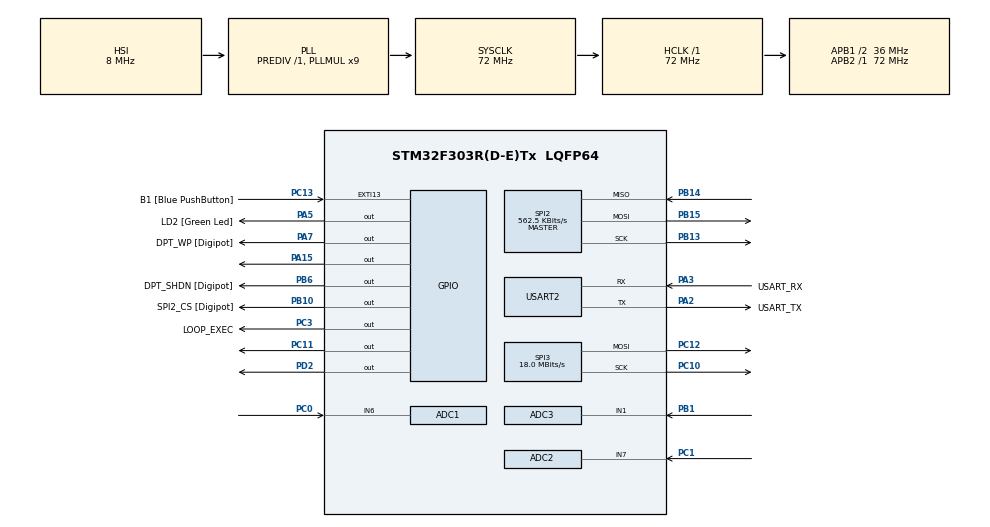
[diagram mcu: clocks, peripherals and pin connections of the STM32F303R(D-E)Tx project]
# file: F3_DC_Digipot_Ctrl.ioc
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Mcu.Family=STM32F3
PA2.GPIO_PuPd=GPIO_NOPULL
RCC.CortexFreq_Value=72000000
SPI3.Direction=SPI_DIRECTION_2LINES
SPI3.VirtualType=VM_MASTER
SPI2.VirtualType=VM_MASTER
SPI3.NSSPMode=SPI_NSS_PULSE_DISABLE
PC10.Signal=SPI3_SCK
PC12.Signal=SPI3_MOSI
PA14.GPIO_Label=TCK
ADC1.SamplingTimeOPAMP-1\#ChannelRegularConversion=ADC_SAMPLETIME_61CYCLES_5
RCC.SYSCLKSourceVirtual=RCC_SYSCLKSOURCE_PLLCLK
PA3.GPIO_PuPd=GPIO_NOPULL
PA2.GPIO_Speed=GPIO_SPEED_FREQ_LOW
PB6.GPIO_Label=DPT_SHDN [Digipot]
PC13.GPIO_Label=B1 [Blue PushButton]
PA3.GPIO_Speed=GPIO_SPEED_FREQ_LOW
PB13.Signal=SPI2_SCK
PB15.Signal=SPI2_MOSI
ADC2.SamplingTimeOPAMP-7\#ChannelRegularConversion=ADC_SAMPLETIME_61CYCLES_5
ProjectManager.StackSize=0x400
ADC2.Rank-7\#ChannelRegularConversion=1
ADC3.SamplingTime-4\#ChannelRegularConversion=ADC_SAMPLETIME_1CYCLE_5
ADC3.SamplingTimeOPAMP-4\#ChannelRegularConversion=ADC_SAMPLETIME_61CYCLES_5
RCC.HCLKFreq_Value=72000000
ADC1.Offset-1\#ChannelRegularConversion=0
RCC.APB2TimFreq_Value=72000000
TIM3.Period=9999
PB6.Signal=GPIO_Output
PC3.Signal=GPIO_Output
RCC.AHBFreq_Value=72000000
SPI2.BaudRatePrescaler=SPI_BAUDRATEPRESCALER_64
SPI3.DataSize=SPI_DATASIZE_8BIT
RCC.HSE_VALUE=8000000
USART2.VirtualMode-Asynchronous=VM_ASYNC
RCC.RCC_PLLsource_Clock_Source_FROM_HSE=RCC_HSE_PREDIV_DIV2
RCC.PLLMUL=RCC_PLL_MUL9
PC14-OSC32_IN.Mode=LSE-External-Oscillator
PA14.Mode=Serial_Wire
PB14.Mode=Full_Duplex_Master
TIM3.Prescaler=7199
PA5.GPIO_PuPd=GPIO_NOPULL
NVIC.TIM2_IRQn=true\:0\:0\:false\:false\:true\:true\:true
SPI2.CalculateBaudRate=562.5 KBits/s
TIM4.Period=1000
ADC3.Rank-4\#ChannelRegularConversion=1
ADC3.master=1
Mcu.Package=LQFP64
TIM2.Prescaler=71
PB1.Signal=ADC3_IN1
SPI2.Mode=SPI_MODE_MASTER
SPI3.Mode=SPI_MODE_MASTER
PA2.GPIO_Label=USART_TX
PA15.Signal=GPIO_Output
ADC1.OffsetNumber-1\#ChannelRegularConversion=ADC_OFFSET_NONE
RCC.APB1TimFreq_Value=72000000
ADC2.Channel-7\#ChannelRegularConversion=ADC_CHANNEL_7
ADC3.OffsetNumber-4\#ChannelRegularConversion=ADC_OFFSET_NONE
SPI2.Direction=SPI_DIRECTION_2LINES
PB13.Mode=Full_Duplex_Master
VP_TIM3_VS_ClockSourceINT.Mode=Internal
PF1-OSC_OUT.Signal=RCC_OSC_OUT
PA3.Signal=USART2_RX
PA2.GPIO_Mode=GPIO_MODE_AF_PP
PB3.GPIO_Label=SWO
PC15-OSC32_OUT.Mode=LSE-External-Oscillator
TIM4.AutoReloadPreload=TIM_AUTORELOAD_PRELOAD_ENABLE
TIM3.AutoReloadPreload=TIM_AUTORELOAD_PRELOAD_ENABLE
SH.ADCx_IN6.0=ADC1_IN6,IN6-Single-Ended
PC11.Signal=GPIO_Output
PC13.Signal=GPXTI13
SPI2.NSSPMode=SPI_NSS_PULSE_DISABLE
PC10.Mode=TX_Only_Simplex_Unidirect_Master
PC0.Signal=ADCx_IN6
RCC.APB1CLKDivider=RCC_HCLK_DIV2
PC14-OSC32_IN.Signal=RCC_OSC32_IN
ADC3.Offset-4\#ChannelRegularConversion=0
PA13.Signal=SYS_JTMS-SWDIO
PA3.Mode=Asynchronous
ProjectManager.TargetToolchain=STM32CubeIDE
ADC3.Channel-4\#ChannelRegularConversion=ADC_CHANNEL_1
PB10.GPIO_Label=SPI2_CS [Digipot]
SH.ADCx_IN7.0=ADC2_IN7,IN7-Single-Ended
PA3.GPIO_Mode=GPIO_MODE_AF_PP
SH.COMP_DAC11_group.0=DAC1_OUT1
ADC1.Channel-1\#ChannelRegularConversion=ADC_CHANNEL_6
RCC.USBFreq_Value=72000000
TIM4.Prescaler=71
PC15-OSC32_OUT.Signal=RCC_OSC32_OUT
PF0-OSC_IN.Mode=HSE-External-Clock-Source
PB10.Signal=GPIO_Output
PB14.Signal=SPI2_MISO
PA5.Signal=GPIO_Output
PC12.Mode=TX_Only_Simplex_Unidirect_Master
board=NUCLEO-F303RE
PB15.Mode=Full_Duplex_Master
NVIC.TIM3_IRQn=true\:0\:0\:false\:false\:true\:true\:true
RCC.APB2Freq_Value=72000000
SPI3.CalculateBaudRate=18.0 MBits/s
VP_TIM2_VS_ClockSourceINT.Mode=Internal
TIM2.Period=4294967295
PA13.Mode=Serial_Wire
Mcu.Name=STM32F303R(D-E)Tx
ADC2.OffsetNumber-7\#ChannelRegularConversion=ADC_OFFSET_NONE
PA2.Signal=USART2_TX
PA13.GPIO_Label=TMS
ADC2.SamplingTime-7\#ChannelRegularConversion=ADC_SAMPLETIME_1CYCLE_5
PB3.Signal=SYS_JTDO-TRACESWO
PA4.Signal=COMP_DAC11_group
ADC1.SamplingTime-1\#ChannelRegularConversion=ADC_SAMPLETIME_1CYCLE_5
RCC.SYSCLKFreq_VALUE=72000000
PA7.GPIO_Label=DPT_WP [Digipot]
ADC1.master=1
PA5.GPIO_Label=LD2 [Green Led]
ADC2.NbrOfConversionFlag=1
PC13.GPIO_ModeDefaultEXTI=GPIO_MODE_IT_FALLING
ADC1.Rank-1\#ChannelRegularConversion=1
PA14.Signal=SYS_JTCK-SWCLK
ProjectManager.HeapSize=0x200
PB1.Mode=IN1-Single-Ended
RCC.HSI_VALUE=8000000
VP_TIM4_VS_ClockSourceINT.Mode=Internal
RCC.PLLP=RCC_PLLP_DIV4
PA5.GPIO_Speed=GPIO_SPEED_FREQ_LOW
RCC.PLLQ=7
NVIC.PriorityGroup=NVIC_PRIORITYGROUP_0
ADC1.NbrOfConversionFlag=1
RCC.PLLM=8
RCC.PLLN=336
PA2.Mode=Asynchronous
TIM2.AutoReloadPreload=TIM_AUTORELOAD_PRELOAD_ENABLE
PC3.GPIO_Label=LOOP_EXEC
SPI2.DataSize=SPI_DATASIZE_8BIT
PF0-OSC_IN.Signal=RCC_OSC_IN
PD2.Signal=GPIO_Output
NVIC.TIM4_IRQn=true\:0\:0\:false\:false\:true\:true\:true
RCC.APB1Freq_Value=36000000
ADC3.NbrOfConversionFlag=1
PC1.Signal=ADCx_IN7
ADC2.Offset-7\#ChannelRegularConversion=0
PA3.GPIO_Label=USART_RX
PA7.Signal=GPIO_Output

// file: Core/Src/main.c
/* USER CODE BEGIN Header */
/**
 ******************************************************************************
 * @file           : main.c
 * @brief          : Main program body
 ******************************************************************************
 * @attention
 *
 * <h2><center>&copy; Copyright (c) 2021 STMicroelectronics.
 * All rights reserved.</center></h2>
 *
 * This software component is licensed by ST under BSD 3-Clause license,
 * the "License"; You may not use this file except in compliance with the
 * License. You may obtain a copy of the License at:
 *                        opensource.org/licenses/BSD-3-Clause
 *
 ******************************************************************************
 */
/* USER CODE END Header */
#include "main.h"

/* USER CODE BEGIN Includes */
#include "Lcd/stm32_adafruit_lcd.h"
#include "Digipot/MCP4261.h"
#include <stdio.h>
#include <math.h>
/* USER CODE END Includes */

/* USER CODE BEGIN PTD */
typedef struct {
	float Tcyc;
	float D;
	float Vnorm;
	float Tacc;
	float Tnorm;
	float v1;
	float t1;
	float t2;
	float t3;
	float a1;
	float a2;
	float a3;
	float angle;
	float velocity;
	uint8_t running;
	uint8_t stopping;
	uint8_t start_rq;
	uint32_t start_rq_cycles;
	uint32_t encoder[10] ;
} MOT_Control_Params;
/* USER CODE END PTD */

/* USER CODE BEGIN PD */
#define ADC_TIMEOUT       100
#define ADC_VREF          3.3     // V
#define MOT_ACCEL         6.28    // rad/s^2
#define MOT_MAX_CYC_TIME  10.0    // s
#define MOT_MAX_DPT       1.0     // 0..1 (0..100%)
#define MOT_ENCODER_360   2.92    // V
#define MOT_CTRL_Kp       2.0     // proportional coefficient
#define PI                3.1415926
/* USER CODE END PD */

ADC_HandleTypeDef hadc1;
ADC_HandleTypeDef hadc2;
ADC_HandleTypeDef hadc3;

SPI_HandleTypeDef hspi2;
SPI_HandleTypeDef hspi3;

TIM_HandleTypeDef htim2;
TIM_HandleTypeDef htim3;
TIM_HandleTypeDef htim4;

UART_HandleTypeDef huart2;

/* USER CODE BEGIN PV */
// ADCx conversion results
uint32_t ADC1_VALUE = 0;
uint32_t ADC2_VALUE = 0;
uint32_t ADC3_VALUE = 0;
// Control
MOT_Control_Params MOT;
// Time measurements
uint32_t LOOP_START_TIME = 0;
uint32_t LOOP_EXEC_TIME = 0;
uint32_t LOOP_CYCLE_TIME = 0;
uint32_t MAIN_START_TIME = 0;
uint32_t MAIN_EXEC_TIME = 0;
uint32_t MAIN_CYCLE_TIME = 0;

// Display diagnostic strings
char DPY_adc1[24];
char DPY_par0[24];
char DPY_par1[24];
char DPY_par2[24];
char DPY_par3[24];
char DPY_par4[24];
char DPY_par5[24];
char DPY_par6[24];
char DPY_par7[24];
char DPY_par8[24];
char DPY_par9[24];
/* USER CODE END PV */

void SystemClock_Config(void);
static void MX_GPIO_Init(void);
static void MX_USART2_UART_Init(void);
static void MX_SPI3_Init(void);
static void MX_SPI2_Init(void);
static void MX_ADC1_Init(void);
static void MX_TIM2_Init(void);
static void MX_TIM3_Init(void);
static void MX_ADC2_Init(void);
static void MX_TIM4_Init(void);
static void MX_ADC3_Init(void);

/* USER CODE BEGIN 0 */

// Main control loop
void CONTROL_Main_Loop() {
	// ! ATTENTION ! MAIN CONTROL CYCLE called by interrupt from TIM4
	HAL_StatusTypeDef halst;   // In case some diagnostic data needed

	// Profiling
	uint32_t timer_start = htim2.Instance->CNT;
	LOOP_CYCLE_TIME = htim2.Instance->CNT - LOOP_START_TIME;
	LOOP_START_TIME = timer_start;
	HAL_GPIO_WritePin(LOOP_EXEC_GPIO_Port, LOOP_EXEC_Pin, GPIO_PIN_SET);

	// *********************************************************************
	// *                           Read all inputs                         *
	// *********************************************************************
	// Read encoder feedback from ADC1
	halst = HAL_ADC_Start(&hadc1);
	halst = HAL_ADC_PollForConversion(&hadc1, ADC_TIMEOUT);
	ADC1_VALUE = HAL_ADC_GetValue(&hadc1);
	// Read speed setting value from ADC2 (connected to potentiometer)
	halst = HAL_ADC_Start(&hadc2);
	halst = HAL_ADC_PollForConversion(&hadc2, ADC_TIMEOUT);
	ADC2_VALUE = HAL_ADC_GetValue(&hadc2);
	// Read diagnostic value from ADC3 (connected to potentiometer in parallel to ADC2)
	halst = HAL_ADC_Start(&hadc3);
	halst = HAL_ADC_PollForConversion(&hadc3, ADC_TIMEOUT);
	ADC3_VALUE = HAL_ADC_GetValue(&hadc3);

	// *********************************************************************
	// *                         CONTROL LOGIC                             *
	// *********************************************************************

	// Current motor rotation angle
	float adc1_volt = (float) ADC1_VALUE * (ADC_VREF / 0xFFF);
	MOT.angle = PI * 2 * (adc1_volt / MOT_ENCODER_360);

	// Current speed
	uint16_t encoder_size = sizeof(MOT.encoder) / sizeof(typeof(MOT.encoder[0]));
	uint16_t iter_end = encoder_size - 1;
	float iter_sum = 0;
	for (uint16_t i = 1; i <= iter_end; i++) {
		MOT.encoder[i - 1] = MOT.encoder[i];
		iter_sum = iter_sum + MOT.encoder[i - 1];
	}
	MOT.encoder[iter_end] = MOT.angle;
	iter_sum = iter_sum + MOT.encoder[iter_end];
	MOT.velocity = iter_sum / encoder_size;

	// Read rotation cycle time value from potentiometer connected to ADC2
	MOT.Tcyc = MOT_MAX_CYC_TIME * ((float) ADC2_VALUE / 0xFFF);
	// Calculate speed profile parameters
	MOT.D = MOT.Tcyc * MOT.Tcyc - (PI * 8 / MOT_ACCEL);
	if (MOT.D >= 0) {
		MOT.Vnorm = MOT_ACCEL * (MOT.Tcyc - sqrt(MOT.D));
		MOT.Tacc = MOT.Vnorm / MOT_ACCEL;
		if (MOT.Tcyc >= (MOT.Tacc * 2)) {
			MOT.Tnorm = MOT.Tcyc - (MOT.Tacc * 2);
			MOT.v1 = MOT.Vnorm;
			MOT.t1 = MOT.Tacc;
			MOT.t2 = MOT.Tacc + MOT.Tnorm;
			MOT.t3 = MOT.Tcyc;
			MOT.a1 = PI * 2 * MOT.t1 / MOT.Tcyc;
			MOT.a2 = PI * 2 * MOT.t2 / MOT.Tcyc;
			MOT.a3 = PI * 2;
		}
	}

	// Blue button press detection
	if (HAL_GPIO_ReadPin(B1_GPIO_Port, B1_Pin) == GPIO_PIN_RESET) {
		if (MOT.running == 0) {
			MOT.start_rq_cycles++;
			if (MOT.start_rq_cycles > 250) {
				MOT.running = 1;
				MOT.stopping = 0;
			}
		} else {
			MOT.start_rq_cycles = 0;
		}
	} else {
		MOT.start_rq_cycles = 0;
	}

	// Regulator output calculation
	float regulator = 0;
	float Vref = 0;
	if (MOT.running > 0) {
		if ((MOT.angle >= 0) && (MOT.angle < MOT.a1) && (MOT.stopping == 0)) {
			Vref = MOT.v1 * MOT.angle / MOT.a1;
		}
		if ((MOT.angle >= MOT.a1) && (MOT.angle < MOT.a2)
				&& (MOT.stopping == 0)) {
			Vref = MOT.v1;
		}
		if ((MOT.angle >= MOT.a2) && (MOT.angle < MOT.a3)) {
			Vref = MOT.v1 * (MOT.a3 - MOT.angle) / (MOT.a3 - MOT.a2);
		} else if (MOT.stopping > 0) {
			MOT.running = 0;
			MOT.stopping = 0;
		}
		float Vdiff = Vref - MOT.velocity;
		regulator = Vdiff * MOT_CTRL_Kp;
	}

	// Regulator output clipping
	if (regulator > 1)
		regulator = 1;
	if (regulator < 0)
		regulator = 0;

	// Calculate output value of the regulator
	uint16_t regulator_output = regulator * MOT_MAX_DPT * 0xFF;

	// *********************************************************************
	// *                        Write all outputs                          *
	// *********************************************************************
	// Write output to the digital potentiometer
	// Black core is the floor level
	MCP4261_wiper_write(0, regulator_output);

	// Profiling
	uint32_t timer_stop = htim2.Instance->CNT;
	LOOP_EXEC_TIME = timer_stop - timer_start;
	HAL_GPIO_WritePin(LOOP_EXEC_GPIO_Port, LOOP_EXEC_Pin, GPIO_PIN_RESET);
}

// Display initialization
void DPY_Init() {
	BSP_LCD_Init();
	BSP_LCD_SetFont(&Font12);
	BSP_LCD_Clear(LCD_COLOR_BLUE);
	//BSP_LCD_SetTextColor(LCD_COLOR_WHITE);
	//BSP_LCD_SetBackColor(LCD_COLOR_BLUE);
	sprintf(DPY_adc1, "-");
	sprintf(DPY_par0, "-");
	sprintf(DPY_par1, "-");
	sprintf(DPY_par2, "-");
	sprintf(DPY_par3, "-");
	sprintf(DPY_par4, "-");
	sprintf(DPY_par5, "-");
	sprintf(DPY_par6, "-");
	sprintf(DPY_par7, "-");
	sprintf(DPY_par8, "-");
	sprintf(DPY_par9, "-");
}

// Display update
void DPY_ScreenUpdate() {
	// Screen update
	//BSP_LCD_SetTextColor(LCD_COLOR_BLUE);
	//BSP_LCD_FillRect(0, 0, BSP_LCD_GetXSize(), 90);
	BSP_LCD_SetTextColor(LCD_COLOR_WHITE);
	BSP_LCD_SetBackColor(LCD_COLOR_BLUE);
	BSP_LCD_SetFont(&Font12);
	BSP_LCD_DisplayStringAt(0, 0, (uint8_t*) DPY_adc1, LEFT_MODE);
	BSP_LCD_DisplayStringAt(0, 15, (uint8_t*) DPY_par0, LEFT_MODE);
	BSP_LCD_DisplayStringAt(0, 30, (uint8_t*) DPY_par1, LEFT_MODE);
	BSP_LCD_DisplayStringAt(0, 45, (uint8_t*) DPY_par2, LEFT_MODE);
	BSP_LCD_DisplayStringAt(0, 60, (uint8_t*) DPY_par3, LEFT_MODE);
	BSP_LCD_DisplayStringAt(0, 75, (uint8_t*) DPY_par4, LEFT_MODE);
	BSP_LCD_DisplayStringAt(0, 90, (uint8_t*) DPY_par5, LEFT_MODE);
	BSP_LCD_DisplayStringAt(0, 105, (uint8_t*) DPY_par6, LEFT_MODE);
	BSP_LCD_DisplayStringAt(0, 120, (uint8_t*) DPY_par7, LEFT_MODE);
	BSP_LCD_DisplayStringAt(0, 135, (uint8_t*) DPY_par8, LEFT_MODE);
	BSP_LCD_DisplayStringAt(0, 150, (uint8_t*) DPY_par9, LEFT_MODE);
}

/* USER CODE END 0 */

int main(void) {

	/* MCU Configuration--------------------------------------------------------*/

	/* Reset of all peripherals, Initializes the Flash interface and the Systick. */
	HAL_Init();

	/* Configure the system clock */
	SystemClock_Config();

	/* Initialize all configured peripherals */
	MX_GPIO_Init();
	MX_USART2_UART_Init();
	MX_SPI3_Init();
	MX_SPI2_Init();
	MX_ADC1_Init();
	MX_TIM2_Init();
	MX_TIM3_Init();
	MX_ADC2_Init();
	MX_TIM4_Init();
	MX_ADC3_Init();
	/* USER CODE BEGIN 2 */
	// Calibrate The ADC On Power-Up For Better Accuracy
	HAL_ADCEx_Calibration_Start(&hadc1, ADC_SINGLE_ENDED);
	HAL_ADCEx_Calibration_Start(&hadc2, ADC_SINGLE_ENDED);
	HAL_ADCEx_Calibration_Start(&hadc3, ADC_SINGLE_ENDED);
	// Display initialization
	MCP4261_Init(&hspi2);
	DPY_Init();
	// Current speed init array
	uint16_t iter_end = sizeof(MOT.encoder) / sizeof(typeof(MOT.encoder[0])) - 1;
	for (uint16_t i = 0; i <= iter_end; i++) {
		MOT.encoder[i] = 0;
	}
	// Start timer TIM2 for microseconds counting
	HAL_TIM_Base_Start_IT(&htim2);
	// Start timer TIM3 for LD2 blinking
	HAL_TIM_Base_Start_IT(&htim3);
	// Start timer MIN4 for main control loop execution
	HAL_TIM_Base_Start_IT(&htim4);
	/* USER CODE END 2 */

	/* Infinite loop */
	while (1) {

		/* USER CODE BEGIN 3 */
		// Profiling
		uint32_t timer_start = htim2.Instance->CNT;
		MAIN_CYCLE_TIME = htim2.Instance->CNT - MAIN_START_TIME;
		MAIN_START_TIME = timer_start;

		// ****************************
		// * Diagnostic information   *
		// ****************************
		//
		// ADC values
		// 12-bit conversion 000h...FFFh
		// 3.3V reference voltage
		float adc1_volt = (float) ADC1_VALUE * (ADC_VREF / 0xFFF);
		float adc2_volt = (float) ADC2_VALUE * (ADC_VREF / 0xFFF);
		float adc3_volt = (float) ADC3_VALUE * (ADC_VREF / 0xFFF);
		//
		// Digital potentiometer values
		uint16_t st = MCP4261_status_read();
		uint16_t tc = MCP4261_tcon_read();
		uint16_t wp = MCP4261_wiper_read(0);
		sprintf(DPY_adc1, "AD1 ENC %3X %.2fV   ", ADC1_VALUE, adc1_volt);
		sprintf(DPY_par0, "AD2 POT %3X %.2fV   ", ADC2_VALUE, adc2_volt);
		sprintf(DPY_par1, "AD3 DIA %3X %.2fV   ", ADC3_VALUE, adc3_volt);
		sprintf(DPY_par2, "DP: %4X %4X %3X     ", st, tc, wp);
		sprintf(DPY_par3, "   (1) (2) (3)");
		sprintf(DPY_par4, "T> %.1f %.1f %.1f      ", MOT.t1, MOT.t2, MOT.t3);
		sprintf(DPY_par5, "A> %.1f %.1f %.1f      ", MOT.a1, MOT.a2, MOT.a3);
		sprintf(DPY_par6, "D=%.1f Vn= %.1f  ", MOT.D, MOT.Vnorm);
		sprintf(DPY_par7, "RUN=%d A=%.1f V=%.1f   ", MOT.running, MOT.angle, MOT.velocity);
		sprintf(DPY_par8, "Ctrl: %4d/%4d us    ", LOOP_CYCLE_TIME,
				LOOP_EXEC_TIME);
		sprintf(DPY_par9, "Main: %4d/%4d ms    ", MAIN_CYCLE_TIME / 1000,
				MAIN_EXEC_TIME / 1000);
		DPY_ScreenUpdate();

		// Profiling
		MAIN_EXEC_TIME = htim2.Instance->CNT - MAIN_START_TIME;

		HAL_Delay(100);
	}
	/* USER CODE END 3 */
}

void SystemClock_Config(void) {
	RCC_OscInitTypeDef RCC_OscInitStruct = { 0 };
	RCC_ClkInitTypeDef RCC_ClkInitStruct = { 0 };
	RCC_PeriphCLKInitTypeDef PeriphClkInit = { 0 };

	/** Initializes the RCC Oscillators according to the specified parameters
	 * in the RCC_OscInitTypeDef structure.
	 */
	RCC_OscInitStruct.OscillatorType = RCC_OSCILLATORTYPE_HSI;
	RCC_OscInitStruct.HSIState = RCC_HSI_ON;
	RCC_OscInitStruct.HSICalibrationValue = RCC_HSICALIBRATION_DEFAULT;
	RCC_OscInitStruct.PLL.PLLState = RCC_PLL_ON;
	RCC_OscInitStruct.PLL.PLLSource = RCC_PLLSOURCE_HSI;
	RCC_OscInitStruct.PLL.PLLMUL = RCC_PLL_MUL9;
	RCC_OscInitStruct.PLL.PREDIV = RCC_PREDIV_DIV1;
	if (HAL_RCC_OscConfig(&RCC_OscInitStruct) != HAL_OK) {
		Error_Handler();
	}
	/** Initializes the CPU, AHB and APB buses clocks
	 */
	RCC_ClkInitStruct.ClockType = RCC_CLOCKTYPE_HCLK | RCC_CLOCKTYPE_SYSCLK
			| RCC_CLOCKTYPE_PCLK1 | RCC_CLOCKTYPE_PCLK2;
	RCC_ClkInitStruct.SYSCLKSource = RCC_SYSCLKSOURCE_PLLCLK;
	RCC_ClkInitStruct.AHBCLKDivider = RCC_SYSCLK_DIV1;
	RCC_ClkInitStruct.APB1CLKDivider = RCC_HCLK_DIV2;
	RCC_ClkInitStruct.APB2CLKDivider = RCC_HCLK_DIV1;

	if (HAL_RCC_ClockConfig(&RCC_ClkInitStruct, FLASH_LATENCY_2) != HAL_OK) {
		Error_Handler();
	}
	PeriphClkInit.PeriphClockSelection = RCC_PERIPHCLK_USART2
			| RCC_PERIPHCLK_ADC12 | RCC_PERIPHCLK_ADC34 | RCC_PERIPHCLK_TIM2
			| RCC_PERIPHCLK_TIM34;
	PeriphClkInit.Usart2ClockSelection = RCC_USART2CLKSOURCE_PCLK1;
	PeriphClkInit.Adc12ClockSelection = RCC_ADC12PLLCLK_DIV1;
	PeriphClkInit.Adc34ClockSelection = RCC_ADC34PLLCLK_DIV1;
	PeriphClkInit.Tim2ClockSelection = RCC_TIM2CLK_HCLK;
	PeriphClkInit.Tim34ClockSelection = RCC_TIM34CLK_HCLK;
	if (HAL_RCCEx_PeriphCLKConfig(&PeriphClkInit) != HAL_OK) {
		Error_Handler();
	}
}

static void MX_ADC1_Init(void) {

	ADC_MultiModeTypeDef multimode = { 0 };
	ADC_ChannelConfTypeDef sConfig = { 0 };

	/** Common config
	 */
	hadc1.Instance = ADC1;
	hadc1.Init.ClockPrescaler = ADC_CLOCK_ASYNC_DIV1;
	hadc1.Init.Resolution = ADC_RESOLUTION_12B;
	hadc1.Init.ScanConvMode = ADC_SCAN_DISABLE;
	hadc1.Init.ContinuousConvMode = DISABLE;
	hadc1.Init.DiscontinuousConvMode = DISABLE;
	hadc1.Init.ExternalTrigConvEdge = ADC_EXTERNALTRIGCONVEDGE_NONE;
	hadc1.Init.ExternalTrigConv = ADC_SOFTWARE_START;
	hadc1.Init.DataAlign = ADC_DATAALIGN_RIGHT;
	hadc1.Init.NbrOfConversion = 1;
	hadc1.Init.DMAContinuousRequests = DISABLE;
	hadc1.Init.EOCSelection = ADC_EOC_SINGLE_CONV;
	hadc1.Init.LowPowerAutoWait = DISABLE;
	hadc1.Init.Overrun = ADC_OVR_DATA_OVERWRITTEN;
	if (HAL_ADC_Init(&hadc1) != HAL_OK) {
		Error_Handler();
	}
	/** Configure the ADC multi-mode
	 */
	multimode.Mode = ADC_MODE_INDEPENDENT;
	if (HAL_ADCEx_MultiModeConfigChannel(&hadc1, &multimode) != HAL_OK) {
		Error_Handler();
	}
	/** Configure Regular Channel
	 */
	sConfig.Channel = ADC_CHANNEL_6;
	sConfig.Rank = ADC_REGULAR_RANK_1;
	sConfig.SingleDiff = ADC_SINGLE_ENDED;
	sConfig.SamplingTime = ADC_SAMPLETIME_1CYCLE_5;
	sConfig.OffsetNumber = ADC_OFFSET_NONE;
	sConfig.Offset = 0;
	if (HAL_ADC_ConfigChannel(&hadc1, &sConfig) != HAL_OK) {
		Error_Handler();
	}

}

static void MX_ADC2_Init(void) {

	ADC_ChannelConfTypeDef sConfig = { 0 };

	/** Common config
	 */
	hadc2.Instance = ADC2;
	hadc2.Init.ClockPrescaler = ADC_CLOCK_ASYNC_DIV1;
	hadc2.Init.Resolution = ADC_RESOLUTION_12B;
	hadc2.Init.ScanConvMode = ADC_SCAN_DISABLE;
	hadc2.Init.ContinuousConvMode = DISABLE;
	hadc2.Init.DiscontinuousConvMode = DISABLE;
	hadc2.Init.ExternalTrigConvEdge = ADC_EXTERNALTRIGCONVEDGE_NONE;
	hadc2.Init.ExternalTrigConv = ADC_SOFTWARE_START;
	hadc2.Init.DataAlign = ADC_DATAALIGN_RIGHT;
	hadc2.Init.NbrOfConversion = 1;
	hadc2.Init.DMAContinuousRequests = DISABLE;
	hadc2.Init.EOCSelection = ADC_EOC_SINGLE_CONV;
	hadc2.Init.LowPowerAutoWait = DISABLE;
	hadc2.Init.Overrun = ADC_OVR_DATA_OVERWRITTEN;
	if (HAL_ADC_Init(&hadc2) != HAL_OK) {
		Error_Handler();
	}
	/** Configure Regular Channel
	 */
	sConfig.Channel = ADC_CHANNEL_7;
	sConfig.Rank = ADC_REGULAR_RANK_1;
	sConfig.SingleDiff = ADC_SINGLE_ENDED;
	sConfig.SamplingTime = ADC_SAMPLETIME_1CYCLE_5;
	sConfig.OffsetNumber = ADC_OFFSET_NONE;
	sConfig.Offset = 0;
	if (HAL_ADC_ConfigChannel(&hadc2, &sConfig) != HAL_OK) {
		Error_Handler();
	}

}

static void MX_ADC3_Init(void) {

	ADC_MultiModeTypeDef multimode = { 0 };
	ADC_ChannelConfTypeDef sConfig = { 0 };

	/** Common config
	 */
	hadc3.Instance = ADC3;
	hadc3.Init.ClockPrescaler = ADC_CLOCK_ASYNC_DIV1;
	hadc3.Init.Resolution = ADC_RESOLUTION_12B;
	hadc3.Init.ScanConvMode = ADC_SCAN_DISABLE;
	hadc3.Init.ContinuousConvMode = DISABLE;
	hadc3.Init.DiscontinuousConvMode = DISABLE;
	hadc3.Init.ExternalTrigConvEdge = ADC_EXTERNALTRIGCONVEDGE_NONE;
	hadc3.Init.ExternalTrigConv = ADC_SOFTWARE_START;
	hadc3.Init.DataAlign = ADC_DATAALIGN_RIGHT;
	hadc3.Init.NbrOfConversion = 1;
	hadc3.Init.DMAContinuousRequests = DISABLE;
	hadc3.Init.EOCSelection = ADC_EOC_SINGLE_CONV;
	hadc3.Init.LowPowerAutoWait = DISABLE;
	hadc3.Init.Overrun = ADC_OVR_DATA_OVERWRITTEN;
	if (HAL_ADC_Init(&hadc3) != HAL_OK) {
		Error_Handler();
	}
	/** Configure the ADC multi-mode
	 */
	multimode.Mode = ADC_MODE_INDEPENDENT;
	if (HAL_ADCEx_MultiModeConfigChannel(&hadc3, &multimode) != HAL_OK) {
		Error_Handler();
	}
	/** Configure Regular Channel
	 */
	sConfig.Channel = ADC_CHANNEL_1;
	sConfig.Rank = ADC_REGULAR_RANK_1;
	sConfig.SingleDiff = ADC_SINGLE_ENDED;
	sConfig.SamplingTime = ADC_SAMPLETIME_1CYCLE_5;
	sConfig.OffsetNumber = ADC_OFFSET_NONE;
	sConfig.Offset = 0;
	if (HAL_ADC_ConfigChannel(&hadc3, &sConfig) != HAL_OK) {
		Error_Handler();
	}

}

static void MX_SPI2_Init(void) {

	/* SPI2 parameter configuration*/
	hspi2.Instance = SPI2;
	hspi2.Init.Mode = SPI_MODE_MASTER;
	hspi2.Init.Direction = SPI_DIRECTION_2LINES;
	hspi2.Init.DataSize = SPI_DATASIZE_8BIT;
	hspi2.Init.CLKPolarity = SPI_POLARITY_LOW;
	hspi2.Init.CLKPhase = SPI_PHASE_1EDGE;
	hspi2.Init.NSS = SPI_NSS_SOFT;
	hspi2.Init.BaudRatePrescaler = SPI_BAUDRATEPRESCALER_64;
	hspi2.Init.FirstBit = SPI_FIRSTBIT_MSB;
	hspi2.Init.TIMode = SPI_TIMODE_DISABLE;
	hspi2.Init.CRCCalculation = SPI_CRCCALCULATION_DISABLE;
	hspi2.Init.CRCPolynomial = 7;
	hspi2.Init.CRCLength = SPI_CRC_LENGTH_DATASIZE;
	hspi2.Init.NSSPMode = SPI_NSS_PULSE_DISABLE;
	if (HAL_SPI_Init(&hspi2) != HAL_OK) {
		Error_Handler();
	}

}

static void MX_SPI3_Init(void) {

	/* SPI3 parameter configuration*/
	hspi3.Instance = SPI3;
	hspi3.Init.Mode = SPI_MODE_MASTER;
	hspi3.Init.Direction = SPI_DIRECTION_2LINES;
	hspi3.Init.DataSize = SPI_DATASIZE_8BIT;
	hspi3.Init.CLKPolarity = SPI_POLARITY_LOW;
	hspi3.Init.CLKPhase = SPI_PHASE_1EDGE;
	hspi3.Init.NSS = SPI_NSS_SOFT;
	hspi3.Init.BaudRatePrescaler = SPI_BAUDRATEPRESCALER_2;
	hspi3.Init.FirstBit = SPI_FIRSTBIT_MSB;
	hspi3.Init.TIMode = SPI_TIMODE_DISABLE;
	hspi3.Init.CRCCalculation = SPI_CRCCALCULATION_DISABLE;
	hspi3.Init.CRCPolynomial = 7;
	hspi3.Init.CRCLength = SPI_CRC_LENGTH_DATASIZE;
	hspi3.Init.NSSPMode = SPI_NSS_PULSE_DISABLE;
	if (HAL_SPI_Init(&hspi3) != HAL_OK) {
		Error_Handler();
	}

}

static void MX_TIM2_Init(void) {

	TIM_ClockConfigTypeDef sClockSourceConfig = { 0 };
	TIM_MasterConfigTypeDef sMasterConfig = { 0 };

	htim2.Instance = TIM2;
	htim2.Init.Prescaler = 71;
	htim2.Init.CounterMode = TIM_COUNTERMODE_UP;
	htim2.Init.Period = 4294967295;
	htim2.Init.ClockDivision = TIM_CLOCKDIVISION_DIV1;
	htim2.Init.AutoReloadPreload = TIM_AUTORELOAD_PRELOAD_ENABLE;
	if (HAL_TIM_Base_Init(&htim2) != HAL_OK) {
		Error_Handler();
	}
	sClockSourceConfig.ClockSource = TIM_CLOCKSOURCE_INTERNAL;
	if (HAL_TIM_ConfigClockSource(&htim2, &sClockSourceConfig) != HAL_OK) {
		Error_Handler();
	}
	sMasterConfig.MasterOutputTrigger = TIM_TRGO_RESET;
	sMasterConfig.MasterSlaveMode = TIM_MASTERSLAVEMODE_DISABLE;
	if (HAL_TIMEx_MasterConfigSynchronization(&htim2, &sMasterConfig)
			!= HAL_OK) {
		Error_Handler();
	}

}

static void MX_TIM3_Init(void) {

	TIM_ClockConfigTypeDef sClockSourceConfig = { 0 };
	TIM_MasterConfigTypeDef sMasterConfig = { 0 };

	htim3.Instance = TIM3;
	htim3.Init.Prescaler = 7199;
	htim3.Init.CounterMode = TIM_COUNTERMODE_UP;
	htim3.Init.Period = 9999;
	htim3.Init.ClockDivision = TIM_CLOCKDIVISION_DIV1;
	htim3.Init.AutoReloadPreload = TIM_AUTORELOAD_PRELOAD_ENABLE;
	if (HAL_TIM_Base_Init(&htim3) != HAL_OK) {
		Error_Handler();
	}
	sClockSourceConfig.ClockSource = TIM_CLOCKSOURCE_INTERNAL;
	if (HAL_TIM_ConfigClockSource(&htim3, &sClockSourceConfig) != HAL_OK) {
		Error_Handler();
	}
	sMasterConfig.MasterOutputTrigger = TIM_TRGO_RESET;
	sMasterConfig.MasterSlaveMode = TIM_MASTERSLAVEMODE_DISABLE;
	if (HAL_TIMEx_MasterConfigSynchronization(&htim3, &sMasterConfig)
			!= HAL_OK) {
		Error_Handler();
	}

}

static void MX_TIM4_Init(void) {

	TIM_ClockConfigTypeDef sClockSourceConfig = { 0 };
	TIM_MasterConfigTypeDef sMasterConfig = { 0 };

	htim4.Instance = TIM4;
	htim4.Init.Prescaler = 71;
	htim4.Init.CounterMode = TIM_COUNTERMODE_UP;
	htim4.Init.Period = 1000;
	htim4.Init.ClockDivision = TIM_CLOCKDIVISION_DIV1;
	htim4.Init.AutoReloadPreload = TIM_AUTORELOAD_PRELOAD_ENABLE;
	if (HAL_TIM_Base_Init(&htim4) != HAL_OK) {
		Error_Handler();
	}
	sClockSourceConfig.ClockSource = TIM_CLOCKSOURCE_INTERNAL;
	if (HAL_TIM_ConfigClockSource(&htim4, &sClockSourceConfig) != HAL_OK) {
		Error_Handler();
	}
	sMasterConfig.MasterOutputTrigger = TIM_TRGO_RESET;
	sMasterConfig.MasterSlaveMode = TIM_MASTERSLAVEMODE_DISABLE;
	if (HAL_TIMEx_MasterConfigSynchronization(&htim4, &sMasterConfig)
			!= HAL_OK) {
		Error_Handler();
	}

}

static void MX_USART2_UART_Init(void) {

	huart2.Instance = USART2;
	huart2.Init.BaudRate = 38400;
	huart2.Init.WordLength = UART_WORDLENGTH_8B;
	huart2.Init.StopBits = UART_STOPBITS_1;
	huart2.Init.Parity = UART_PARITY_NONE;
	huart2.Init.Mode = UART_MODE_TX_RX;
	huart2.Init.HwFlowCtl = UART_HWCONTROL_NONE;
	huart2.Init.OverSampling = UART_OVERSAMPLING_16;
	huart2.Init.OneBitSampling = UART_ONE_BIT_SAMPLE_DISABLE;
	huart2.AdvancedInit.AdvFeatureInit = UART_ADVFEATURE_NO_INIT;
	if (HAL_UART_Init(&huart2) != HAL_OK) {
		Error_Handler();
	}

}

static void MX_GPIO_Init(void) {
	GPIO_InitTypeDef GPIO_InitStruct = { 0 };

	/* GPIO Ports Clock Enable */
	__HAL_RCC_GPIOC_CLK_ENABLE();
	__HAL_RCC_GPIOF_CLK_ENABLE();
	__HAL_RCC_GPIOA_CLK_ENABLE();
	__HAL_RCC_GPIOB_CLK_ENABLE();
	__HAL_RCC_GPIOD_CLK_ENABLE();

	/*Configure GPIO pin Output Level */
	HAL_GPIO_WritePin(GPIOC, LOOP_EXEC_Pin | GPIO_PIN_11, GPIO_PIN_RESET);

	/*Configure GPIO pin Output Level */
	HAL_GPIO_WritePin(GPIOA, LD2_Pin | DPT_WP_Pin | GPIO_PIN_15,
			GPIO_PIN_RESET);

	/*Configure GPIO pin Output Level */
	HAL_GPIO_WritePin(GPIOB, SPI2_CS_Pin | DPT_SHDN_Pin, GPIO_PIN_RESET);

	/*Configure GPIO pin Output Level */
	HAL_GPIO_WritePin(GPIOD, GPIO_PIN_2, GPIO_PIN_RESET);

	/*Configure GPIO pin : B1_Pin */
	GPIO_InitStruct.Pin = B1_Pin;
	GPIO_InitStruct.Mode = GPIO_MODE_IT_FALLING;
	GPIO_InitStruct.Pull = GPIO_NOPULL;
	HAL_GPIO_Init(B1_GPIO_Port, &GPIO_InitStruct);

	/*Configure GPIO pins : LOOP_EXEC_Pin PC11 */
	GPIO_InitStruct.Pin = LOOP_EXEC_Pin | GPIO_PIN_11;
	GPIO_InitStruct.Mode = GPIO_MODE_OUTPUT_PP;
	GPIO_InitStruct.Pull = GPIO_NOPULL;
	GPIO_InitStruct.Speed = GPIO_SPEED_FREQ_LOW;
	HAL_GPIO_Init(GPIOC, &GPIO_InitStruct);

	/*Configure GPIO pin : PA4 */
	GPIO_InitStruct.Pin = GPIO_PIN_4;
	GPIO_InitStruct.Mode = GPIO_MODE_ANALOG;
	GPIO_InitStruct.Pull = GPIO_NOPULL;
	HAL_GPIO_Init(GPIOA, &GPIO_InitStruct);

	/*Configure GPIO pins : LD2_Pin DPT_WP_Pin PA15 */
	GPIO_InitStruct.Pin = LD2_Pin | DPT_WP_Pin | GPIO_PIN_15;
	GPIO_InitStruct.Mode = GPIO_MODE_OUTPUT_PP;
	GPIO_InitStruct.Pull = GPIO_NOPULL;
	GPIO_InitStruct.Speed = GPIO_SPEED_FREQ_LOW;
	HAL_GPIO_Init(GPIOA, &GPIO_InitStruct);

	/*Configure GPIO pins : SPI2_CS_Pin DPT_SHDN_Pin */
	GPIO_InitStruct.Pin = SPI2_CS_Pin | DPT_SHDN_Pin;
	GPIO_InitStruct.Mode = GPIO_MODE_OUTPUT_PP;
	GPIO_InitStruct.Pull = GPIO_NOPULL;
	GPIO_InitStruct.Speed = GPIO_SPEED_FREQ_LOW;
	HAL_GPIO_Init(GPIOB, &GPIO_InitStruct);

	/*Configure GPIO pin : PD2 */
	GPIO_InitStruct.Pin = GPIO_PIN_2;
	GPIO_InitStruct.Mode = GPIO_MODE_OUTPUT_PP;
	GPIO_InitStruct.Pull = GPIO_NOPULL;
	GPIO_InitStruct.Speed = GPIO_SPEED_FREQ_LOW;
	HAL_GPIO_Init(GPIOD, &GPIO_InitStruct);

}

/* USER CODE BEGIN 4 */

// Callback from roll over timers
void HAL_TIM_PeriodElapsedCallback(TIM_HandleTypeDef *htim) {
	if (htim == &htim2) {

	}
	if (htim == &htim3) {
		HAL_GPIO_TogglePin(LD2_GPIO_Port, LD2_Pin);
	}
	if (htim == &htim4) {
		CONTROL_Main_Loop();
	}
}

/**
 * @brief  Conversion complete callback in non blocking mode
 * @param  AdcHandle : AdcHandle handle
 * @note   This example shows a simple way to report end of conversion
 *         and get conversion result. You can add your own implementation.
 * @retval None
 */
void HAL_ADC_ConvCpltCallback(ADC_HandleTypeDef *hadc) {
	if (hadc == &hadc1) {

	}
	if (hadc == &hadc2) {

	}
	if (hadc == &hadc3) {

	}
}

/**
 * @brief  Conversion DMA half-transfer callback in non blocking mode
 * @param  hadc: ADC handle
 * @retval None
 */
void HAL_ADC_ConvHalfCpltCallback(ADC_HandleTypeDef *hadc) {

}
/* USER CODE END 4 */

void Error_Handler(void) {
	/* USER CODE BEGIN Error_Handler_Debug */
	/* User can add his own implementation to report the HAL error return state */
	__disable_irq();
	while (1) {
		BSP_LCD_SetTextColor(LCD_COLOR_YELLOW);
		BSP_LCD_SetBackColor(LCD_COLOR_RED);
		BSP_LCD_SetFont(&Font24);
		BSP_LCD_DisplayStringAt(0, 0, (uint8_t*) "! ERROR !", LEFT_MODE);
	}
	/* USER CODE END Error_Handler_Debug */
}

/************************ (C) COPYRIGHT STMicroelectronics *****END OF FILE****/
